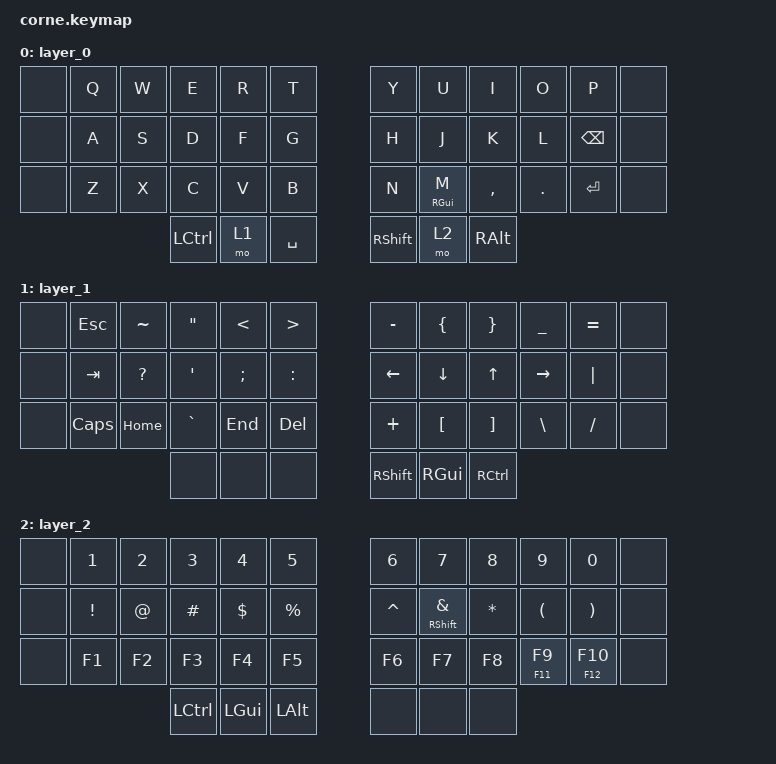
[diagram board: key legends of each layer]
/*
 * Copyright (c) 2020 The ZMK Contributors
 *
 * SPDX-License-Identifier: MIT
 */

#include <behaviors.dtsi>
#include <dt-bindings/zmk/keys.h>

/ {
    combos {
        compatible = "zmk,combos";

        semicolon {
            bindings = <&kp SEMI>;
            key-positions = <33 32>;
            layers = <0>;
        };
    };

    behaviors {
        ht: hold_tap {
            compatible = "zmk,behavior-hold-tap";
            label = "HOLD_TAP";
            bindings = <&kp>, <&kp>;

            #binding-cells = <2>;
            tapping-term-ms = <220>;
            quick-tap-ms = <150>;
            flavor = "tap-preferred";
        };
    };

    keymap {
        compatible = "zmk,keymap";

        layer_0 {
            bindings = <
&none  &kp Q  &kp W  &kp E             &kp R  &kp T        &kp Y            &kp U            &kp I          &kp O    &kp P          &none
&none  &kp A  &kp S  &kp D             &kp F  &kp G        &kp H            &kp J            &kp K          &kp L    &kp BACKSPACE  &none
&none  &kp Z  &kp X  &kp C             &kp V  &kp B        &kp N            &ht RIGHT_GUI M  &kp COMMA      &kp DOT  &kp ENTER      &none
                     &kp LEFT_CONTROL  &mo 1  &kp SPACE    &kp RIGHT_SHIFT  &mo 2            &kp RIGHT_ALT
            >;
        };

        layer_1 {
            bindings = <
&none  &kp ESCAPE    &kp TILDE     &kp DOUBLE_QUOTES  &kp LESS_THAN  &kp GREATER_THAN    &kp MINUS        &kp LEFT_BRACE    &kp RIGHT_BRACE    &kp UNDER        &kp EQUAL  &none
&none  &kp TAB       &kp QUESTION  &kp SINGLE_QUOTE   &kp SEMI       &kp COLON           &kp LEFT_ARROW   &kp DOWN_ARROW    &kp UP_ARROW       &kp RIGHT_ARROW  &kp PIPE   &none
&none  &kp CAPSLOCK  &kp HOME      &kp GRAVE          &kp END        &kp DELETE          &kp PLUS         &kp LEFT_BRACKET  &kp RIGHT_BRACKET  &kp BACKSLASH    &kp SLASH  &none
                                   &none              &none          &none               &kp RIGHT_SHIFT  &kp RIGHT_GUI     &kp RCTRL
            >;
        };

        layer_2 {
            bindings = <
&none  &kp NUMBER_1     &kp NUMBER_2  &kp NUMBER_3      &kp NUMBER_4  &kp NUMBER_5    &kp NUMBER_6  &kp NUMBER_7               &kp NUMBER_8  &kp NUMBER_9          &kp NUMBER_0           &none
&none  &kp EXCLAMATION  &kp AT_SIGN   &kp HASH          &kp DOLLAR    &kp PERCENT     &kp CARET     &ht RIGHT_SHIFT AMPERSAND  &kp ASTERISK  &kp LEFT_PARENTHESIS  &kp RIGHT_PARENTHESIS  &none
&none  &kp F1           &kp F2        &kp F3            &kp F4        &kp F5          &kp F6        &kp F7                     &kp F8        &ht F11 F9            &ht F12 F10            &none
                                      &kp LEFT_CONTROL  &kp LEFT_GUI  &kp LEFT_ALT    &none         &none                      &none
            >;
        };
    };
};
